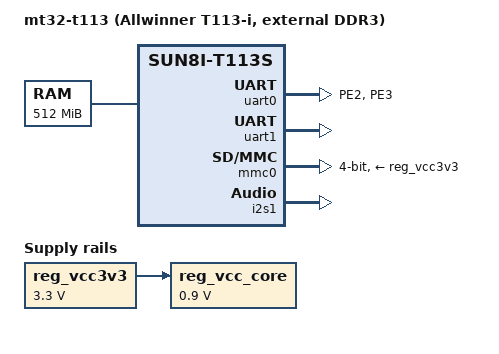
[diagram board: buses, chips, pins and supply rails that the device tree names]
// SPDX-License-Identifier: (GPL-2.0+ OR MIT)
/*
 * mt32-t113: Allwinner T113-i with EXTERNAL DDR3, bare-metal MT-32 synth.
 *
 * NOT VALIDATED ON HARDWARE.  This exists so that
 * boot/configs/t113i_mt32_defconfig actually builds; every pin choice below
 * is a proposal to workstream B, not a reading of a schematic.
 *
 * Validated against u-boot commit 211de43d0f954a00a490220c1aac9db298287c40
 * (v2026.10-rc4-34): it compiles to a DTB and the resulting
 * u-boot-sunxi-with-spl.bin links.  See ../BRINGUP.md section 2.9.
 *
 * Two pin choices are load-bearing and are explained in BRINGUP.md section 6.2:
 *
 *   - Console on UART0 PE2/PE3.  Mainline's sunxi SPL does its console pinmux
 *     in C, not from this devicetree: arch/arm/mach-sunxi/board.c:160 muxes
 *     PE2 and PE3 to function 6 when CONFIG_CONS_INDEX == 1 on
 *     MACH_SUN8I_R528.  PB8/PB9 (what the 100ask T113-i devkit uses) would
 *     work for U-Boot proper but the SPL would print nothing.  PE2/PE3 is the
 *     only UART0 pin pair that needs no patch.
 *   - MIDI in on UART1 PG6/PG7 (uart1_pg6_pins), the only UART1 pin group in
 *     the upstream dtsi.  U-Boot never touches it; it is here so the payload
 *     and any later Linux have one description to agree with.
 */

/dts-v1/;

#include "sun8i-t113s.dtsi"

#include <dt-bindings/gpio/gpio.h>

/ {
	model = "mt32-t113 (Allwinner T113-i, external DDR3)";
	/*
	 * The T113-i is the same die as the T113-S3 (sun8iw20); mainline has
	 * no separate compatible for it, and MACH_SUN8I_R528 covers both.
	 */
	compatible = "mt32,t113i-mt32", "allwinner,sun8i-t113s";

	aliases {
		serial0 = &uart0;	/* console */
		serial1 = &uart1;	/* MIDI in, 31250 baud */
		mmc0 = &mmc0;
	};

	chosen {
		stdout-path = "serial0:115200n8";
	};

	/*
	 * One x16 DDR3 part.  The size here is documentation only: the SPL's
	 * DRAM driver auto-detects rank, DQ width, row/bank/page and reports
	 * the real size (drivers/ram/sunxi/dram_sun20i_d1.c,
	 * auto_scan_dram_config() / DRAMC_get_dram_size()), and U-Boot uses
	 * that, not this node.
	 */
	memory@40000000 {
		device_type = "memory";
		reg = <0x40000000 0x20000000>;	/* 512 MiB */
	};

	reg_vcc3v3: regulator-3v3 {
		compatible = "regulator-fixed";
		regulator-name = "vcc-3v3";
		regulator-min-microvolt = <3300000>;
		regulator-max-microvolt = <3300000>;
		regulator-always-on;
	};

	/* VDD-CPU / VDD-SYS rail.  Value is a placeholder for workstream B. */
	reg_vcc_core: regulator-core {
		compatible = "regulator-fixed";
		regulator-name = "vcc-core";
		regulator-min-microvolt = <900000>;
		regulator-max-microvolt = <900000>;
		vin-supply = <&reg_vcc3v3>;
		regulator-always-on;
	};
};

&cpu0 {
	cpu-supply = <&reg_vcc_core>;
};

&cpu1 {
	cpu-supply = <&reg_vcc_core>;
};

&dcxo {
	clock-frequency = <24000000>;
};

&pio {
	/*
	 * Not in the upstream dtsi, because no upstream board uses it.  Mux
	 * value 6 = "uart0" on PB0-PB1, PB8-PB9 and PE2-PE3, per the function
	 * table in drivers/pinctrl/sunxi/pinctrl-sunxi.c:601-619.
	 */
	uart0_pe_pins: uart0-pe-pins {
		pins = "PE2", "PE3";
		function = "uart0";
	};
};

/* Console. */
&uart0 {
	pinctrl-0 = <&uart0_pe_pins>;
	pinctrl-names = "default";
	status = "okay";
};

/* MIDI in at 31250 baud.  Owned by the payload, not by U-Boot. */
&uart1 {
	pinctrl-0 = <&uart1_pg6_pins>;
	pinctrl-names = "default";
	status = "okay";
};

/* microSD: ROMs, SoundFonts, config, and the payload itself. */
&mmc0 {
	pinctrl-0 = <&mmc0_pins>;
	pinctrl-names = "default";
	broken-cd;
	bus-width = <4>;
	vmmc-supply = <&reg_vcc3v3>;
	status = "okay";
};

/*
 * I2S1 to the PCM5102A.  PG12 = BCLK/LRCK group, PG15 = DOUT.  U-Boot has no
 * I2S driver for this SoC; this node exists so the payload's driver and any
 * later Linux agree on the pins.
 */
&i2s1 {
	pinctrl-0 = <&i2s1_pins>, <&i2s1_dout0_pin>;
	pinctrl-names = "default";
	status = "okay";
};
